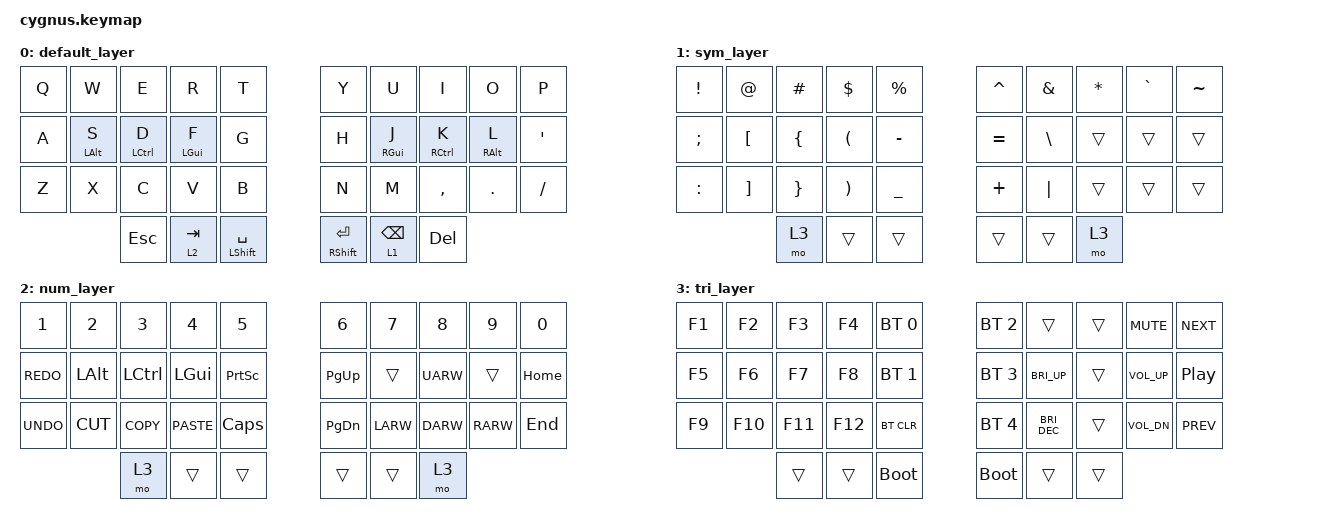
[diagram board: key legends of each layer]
/*
 * Copyright (c) 2020 The ZMK Contributors
 *
 * SPDX-License-Identifier: MIT
 */

#include <behaviors.dtsi>
#include <dt-bindings/zmk/keys.h>
#include <dt-bindings/zmk/bt.h>

&lt {
        #binding-cells = <2>;
        tapping-term-ms = <200>;
        quick-tap-ms = <0>;
        flavor = "tap-preferred";
};

/ {
    behaviors {
        hm: homerow_mods {
            compatible = "zmk,behavior-hold-tap";
            label = "HOMEROW_MODS";
            #binding-cells = <2>;
            tapping-term-ms = <200>;
            quick-tap-ms = <0>;
            flavor = "tap-preferred";
            bindings = <&kp>, <&kp>;
        };
    };

    conditional_layers {
        compatible = "zmk,conditional-layers";
        lf_rst_layer {
            if-layers = <1 2>;
            then-layer = <3>;
        };
    };

    keymap {
                compatible = "zmk,keymap";

                default_layer {
                        bindings = <
        //╭──────────┬──────────┬──────────┬──────────┬──────────╮   ╭──────────┬──────────┬──────────┬──────────┬──────────╮
        //│  !       │  @       │  #       │  $       │  %       │   │  ^       │  &       │  *       │  `       │  ~       │
            &kp Q      &kp W      &kp E      &kp R      &kp T          &kp Y      &kp U      &kp I      &kp O      &kp P 
        //├──────────┼──────────┼──────────┼──────────┼──────────┤   ├──────────┼──────────┼──────────┼──────────┼──────────┤
        //│    ;     │  [       │  {       │  (       │  -       │   │  =       │  \       │          │          │          │  
            &kp A     &hm LALT S &hm LCTRL D &hm LGUI F  &kp G         &kp H    &hm RGUI J &hm RCTRL K &hm RALT L  &kp SQT
        //├──────────┼──────────┼──────────┼──────────┼──────────┤   ├──────────┼──────────┼──────────┼──────────┼──────────┤
        //│    ;     │  [       │  {       │  (       │  -       │   │  =       │  \       │          │          │          │
            &kp Z      &kp X      &kp C      &kp V      &kp B          &kp N      &kp M      &kp COMMA  &kp DOT    &kp FSLH
        //╰──────────┴──────────┴──────────┼──────────┼──────────┤   ├──────────┼──────────┼──────────┴──────────┴──────────╯
                               &kp ESC   &lt 2 TAB   &hm LSHFT SPACE &hm RSHFT RET  &lt 1 BSPC   &kp DEL  
        //                      ╰──────────┴──────────┴──────────╯   ╰──────────┴──────────┴──────────╯
                        >;
                };
                sym_layer {
                        bindings = <
        //╭──────────┬──────────┬──────────┬──────────┬──────────╮   ╭──────────┬──────────┬──────────┬──────────┬──────────╮
        //│  !       │  @       │  #       │  $       │  %       │   │  ^       │  &       │  *       │  `       │  ~       │
            &kp EXCL   &kp AT     &kp HASH   &kp DLLR   &kp PRCNT      &kp CARET  &kp AMPS   &kp ASTRK  &kp GRAVE   &kp TILDE
        //├──────────┼──────────┼──────────┼──────────┼──────────┤   ├──────────┼──────────┼──────────┼──────────┼──────────┤
        //│    ;     │  [       │  {       │  (       │  -       │   │  =       │  \       │          │          │          │
            &kp SEMI   &kp LBKT   &kp LBRC   &kp LPAR   &kp MINUS      &kp EQUAL  &kp BSLH   &trans     &trans     &trans
        //├──────────┼──────────┼──────────┼──────────┼──────────┤   ├──────────┼──────────┼──────────┼──────────┼──────────┤ 
        //│    :     │  ]       │  }       │  )       │  _       │   │  +       │  |       │          │          │          │
            &kp COLON  &kp RBKT   &kp RBRC   &kp RPAR   &kp UNDER      &kp PLUS   &kp PIPE   &trans     &trans     &trans
        //╰──────────┴──────────┴──────────┼──────────┼──────────┤   ├──────────┼──────────┼──────────┴──────────┴──────────╯
                                   &mo 3     &trans     &trans         &trans     &trans     &mo 3
        //                      ╰──────────┴──────────┴──────────╯   ╰──────────┴──────────┴──────────╯
            >;
        };
                num_layer  {
                        bindings = <
        //╭──────────┬──────────┬──────────┬──────────┬──────────╮   ╭──────────┬──────────┬──────────┬──────────┬──────────╮
        //│ 1        │  2       │  3       │  4       │  5       │   │ 6        │ 7        │ 8        │ 9        │   0      │
            &kp N1    &kp N2     &kp N3     &kp N4     &kp N5          &kp N6     &kp N7     &kp N8     &kp N9      &kp N0
        //├──────────┼──────────┼──────────┼──────────┼──────────┤   ├──────────┼──────────┼──────────┼──────────┼──────────┤
        //│ REDO     │          │          │          │          |   | PAGE UP  │          │ UP       │          │  HOME    │
           &kp K_REDO  &kp LALT   &kp LCTRL  &kp LGUI  &kp PSCRN      &kp PG_UP   &trans    &kp UARW   &trans     &kp HOME 
        //├──────────┼──────────┼──────────┼──────────┼──────────┤   ├──────────┼──────────┼──────────┼──────────┼──────────┤
        //│ UNDO     │   CUT    │   COPY   │  PASTE   |          │   │ PAGE DOWN│ LEFT     │ DOWN     │ RIGHT    │ END      │
           &kp K_UNDO &kp K_CUT  &kp K_COPY &kp K_PASTE &kp CAPS         &kp PG_DN  &kp LARW   &kp DARW   &kp RARW   &kp END 
        //╰──────────┴──────────┴──────────┼──────────┼──────────┤   ├──────────┼──────────┼──────────┴──────────┴──────────╯
                                   &mo 3     &trans     &trans         &trans     &trans     &mo 3
        //                      ╰──────────┴──────────┴──────────╯   ╰──────────┴──────────┴──────────╯
            >;
        };
                tri_layer {
                        bindings = <     
        //╭──────────┬──────────┬──────────┬───────────┬────────────╮   ╭────────────┬────────────┬──────────┬───────────┬──────────╮
        //│  F1      │  F2      │  F3      │  F4       │ PROFILE 0  │   │ PROFILE 2  │ TOGGLEOUT  │ WINDOWS  │ VOL MUTE  │ NEXTSONG │
            &kp F1     &kp F2     &kp F3     &kp F4     &bt BT_SEL 0     &bt BT_SEL 2  &trans        &trans   &kp C_MUTE  &kp C_NEXT
        //├──────────┼──────────┼──────────┼───────────┼────────────┤   ├────────────┼────────────┼──────────┼───────────┼──────────┤
        //│  F5      │  F6      │  F7      │  F8       │ PROFILE 1  │   │ PROFILE 3  │ INC BRIGHT │          │  VOL UP   │PAUSEMUSIC│
            &kp F5     &kp F6     &kp F7     &kp F8     &bt BT_SEL 1     &bt BT_SEL 3  &kp C_BRI_UP  &trans   &kp C_VOL_UP  &kp C_PP
        //├──────────┼──────────┼──────────┼───────────┼────────────┤   ├────────────┼────────────┼──────────┼───────────┼──────────┤
        //│  F9      │  F10     │  F11     │  F12      │  CLEAR BT  │   │ PROFILE 4  │ DEC BRIGHT │          |  VOL DOWN │ PREVSONG │
            &kp F9     &kp F10    &kp F11    &kp F12     &bt BT_CLR      &bt BT_SEL 4  &kp C_BRI_DEC  &trans   &kp C_VOL_DN &kp C_PREV
        //╰──────────┴──────────┴──────────┼───────────┼────────────┤   ├────────────┼────────────┼──────────┴───────────┴──────────╯
                                  &trans    &trans       &bootloader      &bootloader   &trans      &trans 
        //                      ╰──────────┴───────────┴────────────╯   ╰────────────┴────────────┴──────────╯

                        >;     
                };
        };
};
